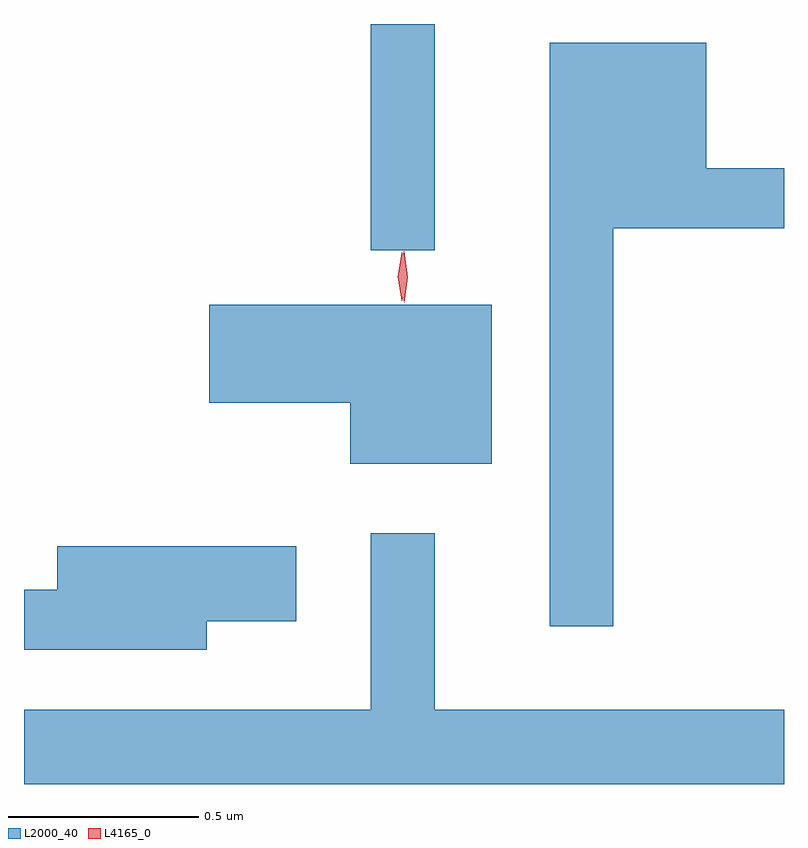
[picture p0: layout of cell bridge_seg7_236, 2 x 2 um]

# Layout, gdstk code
import gdstk
lib = gdstk.Library(unit=1e-6, precision=1e-09)
def R(c, l, rs):  # rectangles x0, y0, x1, y1
    for r in rs: c.add(gdstk.rectangle(r[:2], r[2:], *l))
def P(c, l, *ps):  # polygons
    for p in ps: c.add(gdstk.Polygon(p, *l))
L2000_40 = (2000, 40)
L4165_0 = (4165, 0)

bridge_seg7_236 = lib.new_cell('bridge_seg7_236')
R(bridge_seg7_236, L2000_40, [(1675.371,1718.013,1675.539,1718.608)])
P(bridge_seg7_236, L2000_40, [(1676.009,1718.071),(1676.458,1718.071),(1676.458,1718.229),(1676.254,1718.229),(1676.254,1718.559),(1675.841,1718.559),(1675.841,1717.023),(1676.009,1717.023)],
  [(1675.689,1717.869),(1674.946,1717.869),(1674.946,1717.611),(1675.316,1717.611),(1675.316,1717.451),(1675.689,1717.451)],
  [(1676.458,1716.804),(1675.539,1716.804),(1675.539,1717.268),(1675.371,1717.268),(1675.371,1716.804),(1674.458,1716.804),(1674.458,1716.608),(1676.458,1716.608)],
  [(1674.939,1717.036),(1675.174,1717.036),(1675.174,1717.234),(1674.546,1717.234),(1674.546,1717.119),(1674.458,1717.119),(1674.458,1716.961),(1674.939,1716.961)])
P(bridge_seg7_236, L4165_0, [(1675.458,1717.874),(1675.458,1717.874),(1675.448,1717.942),(1675.457,1718.01),(1675.458,1718.01),(1675.458,1718.01),(1675.468,1717.942),(1675.459,1717.874)],
  [(1675.452,1717.88),(1675.452,1717.88),(1675.442,1717.943),(1675.452,1718.006),(1675.452,1718.007),(1675.453,1718.006),(1675.462,1717.943),(1675.453,1717.88)])

lib.write_gds('bridge_seg7_236.gds')
